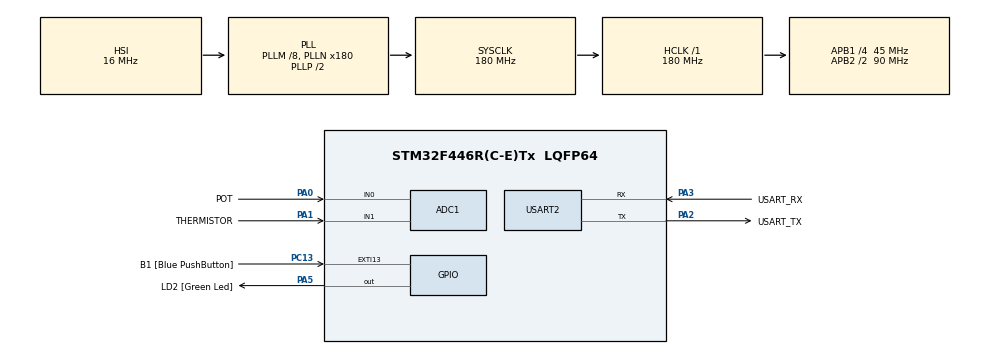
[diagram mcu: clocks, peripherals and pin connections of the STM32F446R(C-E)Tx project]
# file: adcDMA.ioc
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ADC1.Channel-0\#ChannelRegularConversion=ADC_CHANNEL_TEMPSENSOR
ADC1.Channel-1\#ChannelRegularConversion=ADC_CHANNEL_0
ADC1.Channel-2\#ChannelRegularConversion=ADC_CHANNEL_1
ADC1.ContinuousConvMode=ENABLE
ADC1.DMAContinuousRequests=ENABLE
ADC1.NbrOfConversion=3
ADC1.NbrOfConversionFlag=1
ADC1.Rank-0\#ChannelRegularConversion=1
ADC1.Rank-1\#ChannelRegularConversion=2
ADC1.Rank-2\#ChannelRegularConversion=3
ADC1.SamplingTime-0\#ChannelRegularConversion=ADC_SAMPLETIME_84CYCLES
ADC1.SamplingTime-1\#ChannelRegularConversion=ADC_SAMPLETIME_84CYCLES
ADC1.SamplingTime-2\#ChannelRegularConversion=ADC_SAMPLETIME_84CYCLES
ADC1.master=1
Dma.ADC1.0.Direction=DMA_PERIPH_TO_MEMORY
Dma.ADC1.0.FIFOMode=DMA_FIFOMODE_DISABLE
Dma.ADC1.0.Instance=DMA2_Stream0
Dma.ADC1.0.MemDataAlignment=DMA_MDATAALIGN_HALFWORD
Dma.ADC1.0.MemInc=DMA_MINC_ENABLE
Dma.ADC1.0.Mode=DMA_NORMAL
Dma.ADC1.0.PeriphDataAlignment=DMA_PDATAALIGN_HALFWORD
Dma.ADC1.0.PeriphInc=DMA_PINC_DISABLE
Dma.ADC1.0.Priority=DMA_PRIORITY_LOW
Dma.Request0=ADC1
Mcu.Family=STM32F4
Mcu.Name=STM32F446R(C-E)Tx
Mcu.Package=LQFP64
NVIC.DMA2_Stream0_IRQn=true\:0\:0\:false\:false\:true\:false\:true\:true
NVIC.PriorityGroup=NVIC_PRIORITYGROUP_0
NVIC.TIM2_IRQn=true\:0\:0\:false\:false\:true\:true\:true\:true
PA0-WKUP.GPIO_Label=POT
PA0-WKUP.Signal=ADCx_IN0
PA1.GPIO_Label=THERMISTOR
PA1.Signal=ADCx_IN1
PA13.GPIO_Label=TMS
PA13.Mode=Trace_Asynchronous_SW
PA13.Signal=SYS_JTMS-SWDIO
PA14.GPIO_Label=TCK
PA14.Mode=Trace_Asynchronous_SW
PA14.Signal=SYS_JTCK-SWCLK
PA2.GPIO_Label=USART_TX
PA2.Mode=Asynchronous
PA2.Signal=USART2_TX
PA3.GPIO_Label=USART_RX
PA3.Mode=Asynchronous
PA3.Signal=USART2_RX
PA5.GPIO_Label=LD2 [Green Led]
PA5.Signal=GPIO_Output
PB3.GPIO_Label=SWO
PB3.Mode=Trace_Asynchronous_SW
PB3.Signal=SYS_JTDO-SWO
PC13.GPIO_Label=B1 [Blue PushButton]
PC13.GPIO_ModeDefaultEXTI=GPIO_MODE_IT_FALLING
PC13.Signal=GPXTI13
PC14-OSC32_IN.Mode=LSE-External-Oscillator
PC14-OSC32_IN.Signal=RCC_OSC32_IN
PC15-OSC32_OUT.Mode=LSE-External-Oscillator
PC15-OSC32_OUT.Signal=RCC_OSC32_OUT
PH0-OSC_IN.Mode=HSE-External-Oscillator
PH0-OSC_IN.Signal=RCC_OSC_IN
PH1-OSC_OUT.Mode=HSE-External-Oscillator
PH1-OSC_OUT.Signal=RCC_OSC_OUT
ProjectManager.HeapSize=0x200
ProjectManager.StackSize=0x400
ProjectManager.TargetToolchain=STM32CubeIDE
RCC.48MHZClocksFreq_Value=84000000
RCC.AHBFreq_Value=180000000
RCC.APB1CLKDivider=RCC_HCLK_DIV4
RCC.APB1Freq_Value=45000000
RCC.APB1TimFreq_Value=90000000
RCC.APB2CLKDivider=RCC_HCLK_DIV2
RCC.APB2Freq_Value=90000000
RCC.APB2TimFreq_Value=180000000
RCC.CortexFreq_Value=180000000
RCC.FLatency-AdvancedSettings=FLASH_LATENCY_5
RCC.HCLKFreq_Value=180000000
RCC.HSE_VALUE=8000000
RCC.HSI_VALUE=16000000
RCC.PLLM=8
RCC.PLLN=180
RCC.SYSCLKFreq_VALUE=180000000
RCC.SYSCLKSource=RCC_SYSCLKSOURCE_PLLCLK
RCC.USBFreq_Value=180000000
RCC.VCOOutputFreq_Value=360000000
SH.ADCx_IN0.0=ADC1_IN0,IN0
SH.ADCx_IN1.0=ADC1_IN1,IN1
TIM2.AutoReloadPreload=TIM_AUTORELOAD_PRELOAD_ENABLE
TIM2.Period=9000
TIM2.Prescaler=5000
USART2.VirtualMode=VM_ASYNC
VP_ADC1_TempSens_Input.Mode=IN-TempSens
VP_TIM2_VS_ClockSourceINT.Mode=Internal
board=NUCLEO-F446RE

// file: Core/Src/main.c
/* USER CODE BEGIN Header */
/**
  ******************************************************************************
  * @file           : main.c
  * @brief          : Main program body
  ******************************************************************************
  * @attention
  *
  * Copyright (c) 2023 STMicroelectronics.
  * All rights reserved.
  *
  * This software is licensed under terms that can be found in the LICENSE file
  * in the root directory of this software component.
  * If no LICENSE file comes with this software, it is provided AS-IS.
  *
  ******************************************************************************
  */
/* USER CODE END Header */
#include "main.h"

ADC_HandleTypeDef hadc1;
DMA_HandleTypeDef hdma_adc1;

TIM_HandleTypeDef htim2;

UART_HandleTypeDef huart2;

/* USER CODE BEGIN PV */
// array to store the adc values
uint16_t adcVals[48];

// global variables for the cubeMonitor
float avgDieTemp;
float avgPotVoltage;
float avgThermTemp;
/* USER CODE END PV */

void SystemClock_Config(void);
static void MX_GPIO_Init(void);
static void MX_DMA_Init(void);
static void MX_USART2_UART_Init(void);
static void MX_ADC1_Init(void);
static void MX_TIM2_Init(void);

int main(void)
{

  /* MCU Configuration--------------------------------------------------------*/

  /* Reset of all peripherals, Initializes the Flash interface and the Systick. */
  HAL_Init();

  /* Configure the system clock */
  SystemClock_Config();

  /* Initialize all configured peripherals */
  MX_GPIO_Init();
  MX_DMA_Init();
  MX_USART2_UART_Init();
  MX_ADC1_Init();
  MX_TIM2_Init();
  /* USER CODE BEGIN 2 */
  // start timer2
  HAL_TIM_Base_Start_IT(&htim2); // start timer2 with an interrupt
  /* USER CODE END 2 */

  /* Infinite loop */
  /* USER CODE BEGIN WHILE */
  while (1)
  {
	  HAL_ADC_Start_DMA(&hadc1, adcVals, 48);	// start DMA
	  HAL_Delay(1000);							// delay 1s
	  HAL_ADC_Stop_DMA(&hadc1);					// stop DMA
    /* USER CODE END WHILE */

    /* USER CODE BEGIN 3 */
	  // variables to hold the sums and averages of the adc values and temperatures
	  float avgDieADC = 0;
	  float avgPotADC = 0;
	  float avgThermADC = 0;

	  for(uint8_t i = 0; i < 48; i++)		// start by parsing and summing the adc values
	  {
		  avgDieADC += adcVals[i++];
		  avgPotADC += adcVals[i++];
		  avgThermADC += adcVals[i];
	  }

	  // average the sum of the adc values
	  avgDieADC /= 16.0;
	  avgPotADC /= 16.0;
	  avgThermADC /= 16.0;

	  // get the temperature values
	  avgDieTemp = ConvertDieTempADCtoFloat(avgDieADC);
	  avgPotVoltage = ConvertPotADCtoFloat(avgPotADC);
	  avgThermTemp = convertAnalogToTemperature(avgThermADC);

	  // print the results
	  printf("ADC Results:\n\r"
			  "\tAverage Die Value: %.1f\n\r"
			  "\tAverage Die Temp: %.1f\xB0\C\n\n\r"
			  "\tAverage Pot Value: %.1f\n\r"
			  "\tAverage Pot Voltage: %.1fV\n\n\r"
			  "\tAverage Thermistor Value: %.1f\n\r"
			  "\tAverage Thermistor Temp: %.1f\xB0\C\n\n\r",
			  avgDieADC, avgDieTemp, avgPotADC, avgPotVoltage, avgThermADC, avgThermTemp);
  }
  /* USER CODE END 3 */
}

void SystemClock_Config(void)
{
  RCC_OscInitTypeDef RCC_OscInitStruct = {0};
  RCC_ClkInitTypeDef RCC_ClkInitStruct = {0};

  /** Configure the main internal regulator output voltage
  */
  __HAL_RCC_PWR_CLK_ENABLE();
  __HAL_PWR_VOLTAGESCALING_CONFIG(PWR_REGULATOR_VOLTAGE_SCALE1);

  /** Initializes the RCC Oscillators according to the specified parameters
  * in the RCC_OscInitTypeDef structure.
  */
  RCC_OscInitStruct.OscillatorType = RCC_OSCILLATORTYPE_HSI;
  RCC_OscInitStruct.HSIState = RCC_HSI_ON;
  RCC_OscInitStruct.HSICalibrationValue = RCC_HSICALIBRATION_DEFAULT;
  RCC_OscInitStruct.PLL.PLLState = RCC_PLL_ON;
  RCC_OscInitStruct.PLL.PLLSource = RCC_PLLSOURCE_HSI;
  RCC_OscInitStruct.PLL.PLLM = 8;
  RCC_OscInitStruct.PLL.PLLN = 180;
  RCC_OscInitStruct.PLL.PLLP = RCC_PLLP_DIV2;
  RCC_OscInitStruct.PLL.PLLQ = 2;
  RCC_OscInitStruct.PLL.PLLR = 2;
  if (HAL_RCC_OscConfig(&RCC_OscInitStruct) != HAL_OK)
  {
    Error_Handler();
  }

  /** Activate the Over-Drive mode
  */
  if (HAL_PWREx_EnableOverDrive() != HAL_OK)
  {
    Error_Handler();
  }

  /** Initializes the CPU, AHB and APB buses clocks
  */
  RCC_ClkInitStruct.ClockType = RCC_CLOCKTYPE_HCLK|RCC_CLOCKTYPE_SYSCLK
                              |RCC_CLOCKTYPE_PCLK1|RCC_CLOCKTYPE_PCLK2;
  RCC_ClkInitStruct.SYSCLKSource = RCC_SYSCLKSOURCE_PLLCLK;
  RCC_ClkInitStruct.AHBCLKDivider = RCC_SYSCLK_DIV1;
  RCC_ClkInitStruct.APB1CLKDivider = RCC_HCLK_DIV4;
  RCC_ClkInitStruct.APB2CLKDivider = RCC_HCLK_DIV2;

  if (HAL_RCC_ClockConfig(&RCC_ClkInitStruct, FLASH_LATENCY_5) != HAL_OK)
  {
    Error_Handler();
  }
}

static void MX_ADC1_Init(void)
{

  ADC_ChannelConfTypeDef sConfig = {0};

  /** Configure the global features of the ADC (Clock, Resolution, Data Alignment and number of conversion)
  */
  hadc1.Instance = ADC1;
  hadc1.Init.ClockPrescaler = ADC_CLOCK_SYNC_PCLK_DIV4;
  hadc1.Init.Resolution = ADC_RESOLUTION_12B;
  hadc1.Init.ScanConvMode = ENABLE;
  hadc1.Init.ContinuousConvMode = ENABLE;
  hadc1.Init.DiscontinuousConvMode = DISABLE;
  hadc1.Init.ExternalTrigConvEdge = ADC_EXTERNALTRIGCONVEDGE_NONE;
  hadc1.Init.ExternalTrigConv = ADC_SOFTWARE_START;
  hadc1.Init.DataAlign = ADC_DATAALIGN_RIGHT;
  hadc1.Init.NbrOfConversion = 3;
  hadc1.Init.DMAContinuousRequests = ENABLE;
  hadc1.Init.EOCSelection = ADC_EOC_SINGLE_CONV;
  if (HAL_ADC_Init(&hadc1) != HAL_OK)
  {
    Error_Handler();
  }

  /** Configure for the selected ADC regular channel its corresponding rank in the sequencer and its sample time.
  */
  sConfig.Channel = ADC_CHANNEL_TEMPSENSOR;
  sConfig.Rank = 1;
  sConfig.SamplingTime = ADC_SAMPLETIME_84CYCLES;
  if (HAL_ADC_ConfigChannel(&hadc1, &sConfig) != HAL_OK)
  {
    Error_Handler();
  }

  /** Configure for the selected ADC regular channel its corresponding rank in the sequencer and its sample time.
  */
  sConfig.Channel = ADC_CHANNEL_0;
  sConfig.Rank = 2;
  if (HAL_ADC_ConfigChannel(&hadc1, &sConfig) != HAL_OK)
  {
    Error_Handler();
  }

  /** Configure for the selected ADC regular channel its corresponding rank in the sequencer and its sample time.
  */
  sConfig.Channel = ADC_CHANNEL_1;
  sConfig.Rank = 3;
  if (HAL_ADC_ConfigChannel(&hadc1, &sConfig) != HAL_OK)
  {
    Error_Handler();
  }

}

static void MX_TIM2_Init(void)
{

  TIM_ClockConfigTypeDef sClockSourceConfig = {0};
  TIM_MasterConfigTypeDef sMasterConfig = {0};

  htim2.Instance = TIM2;
  htim2.Init.Prescaler = 5000;
  htim2.Init.CounterMode = TIM_COUNTERMODE_UP;
  htim2.Init.Period = 9000;
  htim2.Init.ClockDivision = TIM_CLOCKDIVISION_DIV1;
  htim2.Init.AutoReloadPreload = TIM_AUTORELOAD_PRELOAD_ENABLE;
  if (HAL_TIM_Base_Init(&htim2) != HAL_OK)
  {
    Error_Handler();
  }
  sClockSourceConfig.ClockSource = TIM_CLOCKSOURCE_INTERNAL;
  if (HAL_TIM_ConfigClockSource(&htim2, &sClockSourceConfig) != HAL_OK)
  {
    Error_Handler();
  }
  sMasterConfig.MasterOutputTrigger = TIM_TRGO_RESET;
  sMasterConfig.MasterSlaveMode = TIM_MASTERSLAVEMODE_DISABLE;
  if (HAL_TIMEx_MasterConfigSynchronization(&htim2, &sMasterConfig) != HAL_OK)
  {
    Error_Handler();
  }

}

static void MX_USART2_UART_Init(void)
{

  huart2.Instance = USART2;
  huart2.Init.BaudRate = 115200;
  huart2.Init.WordLength = UART_WORDLENGTH_8B;
  huart2.Init.StopBits = UART_STOPBITS_1;
  huart2.Init.Parity = UART_PARITY_NONE;
  huart2.Init.Mode = UART_MODE_TX_RX;
  huart2.Init.HwFlowCtl = UART_HWCONTROL_NONE;
  huart2.Init.OverSampling = UART_OVERSAMPLING_16;
  if (HAL_UART_Init(&huart2) != HAL_OK)
  {
    Error_Handler();
  }

}

static void MX_DMA_Init(void)
{

  /* DMA controller clock enable */
  __HAL_RCC_DMA2_CLK_ENABLE();

  /* DMA interrupt init */
  /* DMA2_Stream0_IRQn interrupt configuration */
  HAL_NVIC_SetPriority(DMA2_Stream0_IRQn, 0, 0);
  HAL_NVIC_EnableIRQ(DMA2_Stream0_IRQn);

}

static void MX_GPIO_Init(void)
{
  GPIO_InitTypeDef GPIO_InitStruct = {0};

  /* GPIO Ports Clock Enable */
  __HAL_RCC_GPIOC_CLK_ENABLE();
  __HAL_RCC_GPIOH_CLK_ENABLE();
  __HAL_RCC_GPIOA_CLK_ENABLE();
  __HAL_RCC_GPIOB_CLK_ENABLE();

  /*Configure GPIO pin Output Level */
  HAL_GPIO_WritePin(LD2_GPIO_Port, LD2_Pin, GPIO_PIN_RESET);

  /*Configure GPIO pin : B1_Pin */
  GPIO_InitStruct.Pin = B1_Pin;
  GPIO_InitStruct.Mode = GPIO_MODE_IT_FALLING;
  GPIO_InitStruct.Pull = GPIO_NOPULL;
  HAL_GPIO_Init(B1_GPIO_Port, &GPIO_InitStruct);

  /*Configure GPIO pin : LD2_Pin */
  GPIO_InitStruct.Pin = LD2_Pin;
  GPIO_InitStruct.Mode = GPIO_MODE_OUTPUT_PP;
  GPIO_InitStruct.Pull = GPIO_NOPULL;
  GPIO_InitStruct.Speed = GPIO_SPEED_FREQ_LOW;
  HAL_GPIO_Init(LD2_GPIO_Port, &GPIO_InitStruct);

}

/* USER CODE BEGIN 4 */

// for printf
int __io_putchar(int ch)
{
	ITM_SendChar(ch);
}

// for timer
void HAL_TIM_PeriodElapsedCallback(TIM_HandleTypeDef *htim)
{
	HAL_GPIO_TogglePin(LD2_GPIO_Port, LD2_Pin);		// when the hardware timer triggers, toggle the led.
}
/* USER CODE END 4 */

void Error_Handler(void)
{
  __disable_irq();
  while (1)
  {
  }
}
